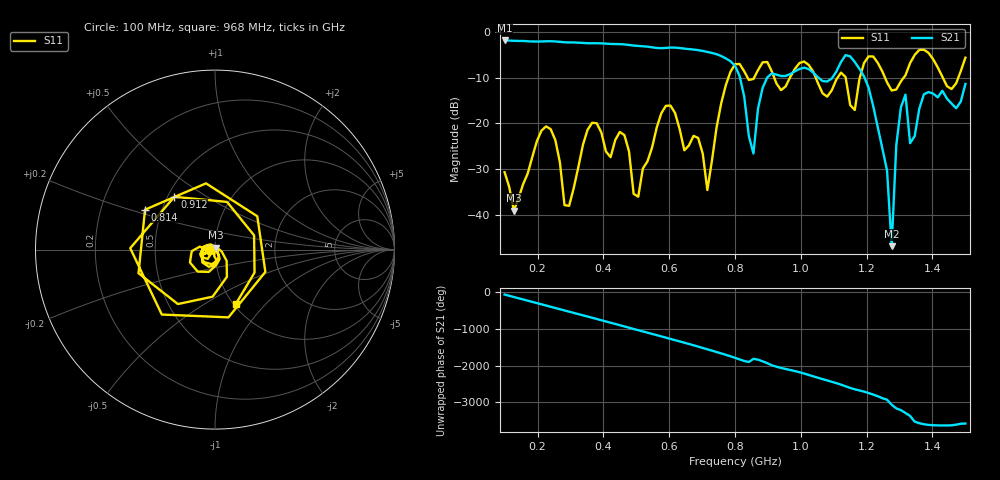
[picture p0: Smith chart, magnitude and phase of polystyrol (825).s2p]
! NanoVNA-App
! Date: 2025-09-25 15:36:18
! Start: 100MHz Stop: 1,5GHz Points: 101
! S-Parameter data: F S11 S21 S12 S22
# Hz S RI R 50
!  Frequency  S11_Real  S11_Imag  S21_Real  S21_Imag  S12_Real  S12_Imag  S22_Real  S22_Imag
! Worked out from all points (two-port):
!   101 points, 100 MHz to 1.5 GHz, reference 50 ohm
!   highest |S21| = -1.80 dB at 100 MHz (marker M1); lowest = -46.9 dB at 1.276 GHz (marker M2)
!   |S21| within 3 dB of the highest: start of sweep to 743.1 MHz
!   lowest |S11| = -39.1 dB at 128 MHz (marker M3), VSWR 1.02, Z = 50.3 + j1.06 ohm
!   |S11| at or under -10 dB: start of sweep to 779.8 MHz; 1.045 GHz to 1.111 GHz (65.88 MHz wide, 6.11 % of centre); 1.256 GHz to 1.312 GHz (56.06 MHz wide, 4.37 % of centre) (the widest 3 of 7)
!   S12 and S22 are empty: the file has one direction only
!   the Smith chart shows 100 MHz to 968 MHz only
!   S11 on the Smith chart (normalised r, x): 100 MHz: 0.94, -0.01; 814 MHz: 0.40, +0.22; 912 MHz: 0.54, +0.37; 968 MHz: 1.03, -0.69
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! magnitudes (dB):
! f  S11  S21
! 100 MHz  -30.7  -1.8
! 128 MHz  -39.1  -1.9
! 212 MHz  -21.6  -2.0
! 282 MHz  -37.9  -2.2
! 338 MHz  -24.7  -2.3
! 464 MHz  -22.6  -2.7
! 506 MHz  -36.1  -3.0
! 576 MHz  -17.8  -3.5
! 716 MHz  -34.6  -4.3
! 800 MHz  -7.0  -7.4
! 814 MHz  -7.0  -9.6
! 856 MHz  -10.3  -26.6
! 912 MHz  -8.6  -9.0
! 968 MHz  -9.8  -9.2
! 1.038 GHz  -8.7  -8.9
! 1.192 GHz  -6.7  -9.7
! 1.262 GHz  -11.0  -30.4
! 1.276 GHz  -12.8  -46.9
! 1.29 GHz  -12.6  -24.8
! 1.318 GHz  -9.4  -13.7
! 1.332 GHz  -6.8  -24.3
! 1.5 GHz  -5.6  -11.3
